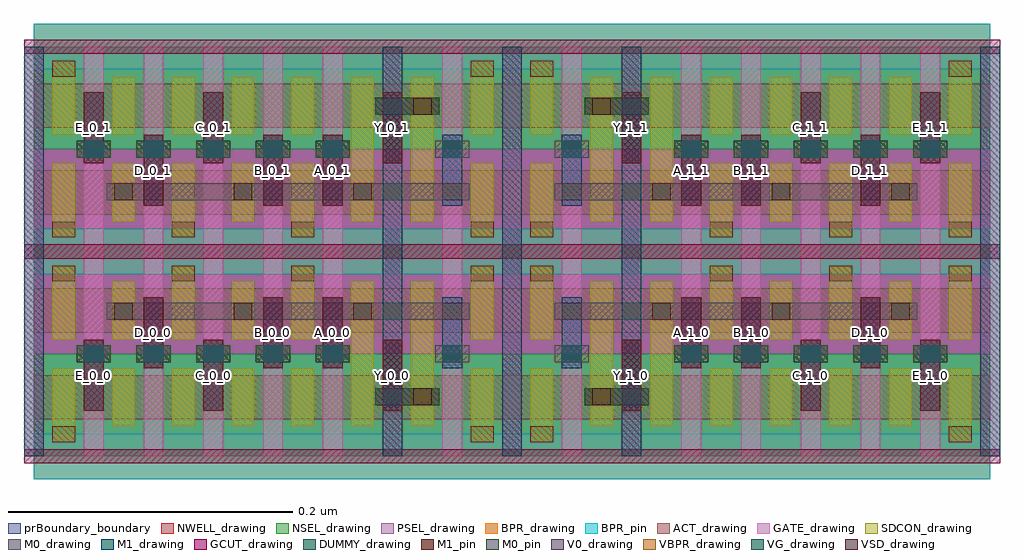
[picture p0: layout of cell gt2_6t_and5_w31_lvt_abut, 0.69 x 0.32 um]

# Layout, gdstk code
from math import pi, radians
import gdstk
lib = gdstk.Library(unit=1e-6, precision=5e-10)
def R(c, l, rs):  # rectangles x0, y0, x1, y1
    for r in rs: c.add(gdstk.rectangle(r[:2], r[2:], *l))
def A(c, l, x, y, w, h, nx, ny, dx, dy):  # array of equal rectangles
    R(c, l, [(x+i*dx, y+j*dy, x+i*dx+w, y+j*dy+h) for i in range(nx) for j in range(ny)])
NWELL_drawing = (1, 0)
ACT_drawing = (2, 0)
GATE_drawing = (3, 0)
DUMMY_drawing = (4, 0)
GCUT_drawing = (5, 0)
NSEL_drawing = (6, 0)
PSEL_drawing = (7, 0)
BPR_drawing = (8, 0)
BPR_pin = (8, 251)
VBPR_drawing = (9, 0)
SDCON_drawing = (10, 0)
VSD_drawing = (11, 0)
VG_drawing = (12, 0)
M0_drawing = (20, 0)
M0_pin = (20, 251)
V0_drawing = (22, 0)
M1_drawing = (25, 0)
M1_pin = (25, 251)
prBoundary_boundary = (235, 250)

gt2_6t_and5_w31_lvt = lib.new_cell('gt2_6t_and5_w31_lvt')
R(gt2_6t_and5_w31_lvt, NWELL_drawing, [(0,0.072,0.336,0.144)])
R(gt2_6t_and5_w31_lvt, ACT_drawing, [(0,0.026,0.336,0.057), (0,0.087,0.336,0.118)])
A(gt2_6t_and5_w31_lvt, GATE_drawing, -0.007, 0, 0.014, 0.144, 9, 1, 0.042, 0)
R(gt2_6t_and5_w31_lvt, DUMMY_drawing, [(-0.007,0,0.007,0.072), (0.245,0,0.259,0.072), (0.329,0,0.343,0.072), (-0.007,0.072,0.007,0.144), (0.245,0.072,0.259,0.144), (0.329,0.072,0.343,0.144)])
R(gt2_6t_and5_w31_lvt, GCUT_drawing, [(-0.007,-0.005,0.343,0.005), (-0.007,0.139,0.343,0.149)])
R(gt2_6t_and5_w31_lvt, NSEL_drawing, [(0,0,0.336,0.072)])
R(gt2_6t_and5_w31_lvt, PSEL_drawing, [(0,0.072,0.336,0.144)])
R(gt2_6t_and5_w31_lvt, BPR_drawing, [(0,-0.016,0.336,0.016), (0,0.128,0.336,0.16)])
R(gt2_6t_and5_w31_lvt, BPR_pin, [(0,-0.016,0.336,0.016), (0,0.128,0.336,0.16)])
A(gt2_6t_and5_w31_lvt, VBPR_drawing, 0.013, 0.123, 0.016, 0.011, 3, 1, 0.084, 0)
R(gt2_6t_and5_w31_lvt, VBPR_drawing, [(0.013,0.01,0.029,0.021), (0.307,0.01,0.323,0.021), (0.307,0.123,0.323,0.134)])
A(gt2_6t_and5_w31_lvt, SDCON_drawing, 0.055, 0.021, 0.016, 0.041, 4, 1, 0.042, 0)
A(gt2_6t_and5_w31_lvt, SDCON_drawing, 0.013, 0.082, 0.016, 0.052, 3, 1, 0.084, 0)
R(gt2_6t_and5_w31_lvt, SDCON_drawing, [(0.013,0.01,0.029,0.062), (0.307,0.01,0.323,0.062), (0.223,0.021,0.239,0.123), (0.265,0.021,0.281,0.123), (0.055,0.082,0.071,0.123), (0.139,0.082,0.155,0.123), (0.307,0.082,0.323,0.134)])
A(gt2_6t_and5_w31_lvt, VSD_drawing, 0.0565, 0.096, 0.013, 0.012, 3, 1, 0.084, 0)
R(gt2_6t_and5_w31_lvt, VSD_drawing, [(0.2665,0.036,0.2795,0.048)])
A(gt2_6t_and5_w31_lvt, VG_drawing, 0.035, 0.066, 0.014, 0.012, 5, 1, 0.042, 0)
R(gt2_6t_and5_w31_lvt, VG_drawing, [(0.287,0.066,0.301,0.078)])
A(gt2_6t_and5_w31_lvt, M0_drawing, 0.051, 0.096, 0.024, 0.012, 3, 1, 0.084, 0)
R(gt2_6t_and5_w31_lvt, M0_drawing, [(0.24,0.036,0.264,0.048), (0.24,0.036,0.285,0.048), (0.261,0.036,0.285,0.048), (0.03,0.066,0.054,0.078), (0.03,0.066,0.054,0.078), (0.072,0.066,0.096,0.078), (0.072,0.066,0.096,0.078), (0.114,0.066,0.138,0.078), (0.114,0.066,0.138,0.078), (0.156,0.066,0.18,0.078), (0.156,0.066,0.18,0.078), (0.198,0.066,0.222,0.078), (0.198,0.066,0.222,0.078), (0.282,0.066,0.306,0.078), (0.282,0.066,0.306,0.078), (0.051,0.096,0.306,0.108), (0.282,0.096,0.306,0.108)])
R(gt2_6t_and5_w31_lvt, M0_pin, [(0.24,0.036,0.264,0.048), (0.24,0.036,0.285,0.048), (0.261,0.036,0.285,0.048), (0.03,0.066,0.054,0.078), (0.03,0.066,0.054,0.078), (0.072,0.066,0.096,0.078), (0.072,0.066,0.096,0.078), (0.114,0.066,0.138,0.078), (0.114,0.066,0.138,0.078), (0.156,0.066,0.18,0.078), (0.156,0.066,0.18,0.078), (0.198,0.066,0.222,0.078), (0.198,0.066,0.222,0.078)])
A(gt2_6t_and5_w31_lvt, V0_drawing, 0.035, 0.066, 0.014, 0.012, 5, 1, 0.042, 0)
R(gt2_6t_and5_w31_lvt, V0_drawing, [(0.245,0.036,0.259,0.048), (0.287,0.066,0.301,0.078), (0.287,0.096,0.301,0.108)])
A(gt2_6t_and5_w31_lvt, M1_drawing, 0.035, 0.062, 0.014, 0.02, 5, 1, 0.042, 0)
R(gt2_6t_and5_w31_lvt, M1_drawing, [(0.035,0.032,0.049,0.082), (0.119,0.032,0.133,0.082), (0.245,0.032,0.259,0.052), (0.245,0.032,0.259,0.082), (0.077,0.062,0.091,0.112), (0.161,0.062,0.175,0.112), (0.203,0.062,0.217,0.112), (0.287,0.062,0.301,0.082), (0.287,0.062,0.301,0.112), (0.287,0.092,0.301,0.112)])
A(gt2_6t_and5_w31_lvt, M1_pin, 0.035, 0.062, 0.014, 0.02, 5, 1, 0.042, 0)
R(gt2_6t_and5_w31_lvt, M1_pin, [(0.035,0.032,0.049,0.082), (0.119,0.032,0.133,0.082), (0.245,0.032,0.259,0.052), (0.245,0.032,0.259,0.082), (0.077,0.062,0.091,0.112), (0.161,0.062,0.175,0.112), (0.203,0.062,0.217,0.112)])
R(gt2_6t_and5_w31_lvt, prBoundary_boundary, [(0,0,0.336,0.144)])
gt2_6t_and5_w31_lvt.add(gdstk.Label('vss', (0.168,0), layer=8, texttype=251))
gt2_6t_and5_w31_lvt.add(gdstk.Label('vdd', (0.168,0.144), layer=8, texttype=251))
gt2_6t_and5_w31_lvt.add(gdstk.Label('Y', (0.273,0.042), layer=20, texttype=251))
gt2_6t_and5_w31_lvt.add(gdstk.Label('E', (0.042,0.072), layer=20, texttype=251))
gt2_6t_and5_w31_lvt.add(gdstk.Label('D', (0.084,0.072), layer=20, texttype=251))
gt2_6t_and5_w31_lvt.add(gdstk.Label('C', (0.126,0.072), layer=20, texttype=251))
gt2_6t_and5_w31_lvt.add(gdstk.Label('B', (0.168,0.072), layer=20, texttype=251))
gt2_6t_and5_w31_lvt.add(gdstk.Label('A', (0.21,0.072), layer=20, texttype=251))
gt2_6t_and5_w31_lvt.add(gdstk.Label('Y', (0.2625,0.042), layer=20, texttype=251))
gt2_6t_and5_w31_lvt.add(gdstk.Label('Y', (0.252,0.042), layer=20, texttype=251))
gt2_6t_and5_w31_lvt.add(gdstk.Label('E', (0.042,0.072), layer=20, texttype=251))
gt2_6t_and5_w31_lvt.add(gdstk.Label('D', (0.084,0.072), layer=20, texttype=251))
gt2_6t_and5_w31_lvt.add(gdstk.Label('C', (0.126,0.072), layer=20, texttype=251))
gt2_6t_and5_w31_lvt.add(gdstk.Label('B', (0.168,0.072), layer=20, texttype=251))
gt2_6t_and5_w31_lvt.add(gdstk.Label('A', (0.21,0.072), layer=20, texttype=251))
gt2_6t_and5_w31_lvt.add(gdstk.Label('Y', (0.252,0.042), layer=25, texttype=251))
gt2_6t_and5_w31_lvt.add(gdstk.Label('E', (0.042,0.072), layer=25, texttype=251))
gt2_6t_and5_w31_lvt.add(gdstk.Label('D', (0.084,0.072), layer=25, texttype=251))
gt2_6t_and5_w31_lvt.add(gdstk.Label('C', (0.126,0.072), layer=25, texttype=251))
gt2_6t_and5_w31_lvt.add(gdstk.Label('B', (0.168,0.072), layer=25, texttype=251))
gt2_6t_and5_w31_lvt.add(gdstk.Label('A', (0.21,0.072), layer=25, texttype=251))
gt2_6t_and5_w31_lvt.add(gdstk.Label('E', (0.042,0.057), layer=25, texttype=251))
gt2_6t_and5_w31_lvt.add(gdstk.Label('C', (0.126,0.057), layer=25, texttype=251))
gt2_6t_and5_w31_lvt.add(gdstk.Label('Y', (0.252,0.057), layer=25, texttype=251))
gt2_6t_and5_w31_lvt.add(gdstk.Label('D', (0.084,0.087), layer=25, texttype=251))
gt2_6t_and5_w31_lvt.add(gdstk.Label('B', (0.168,0.087), layer=25, texttype=251))
gt2_6t_and5_w31_lvt.add(gdstk.Label('A', (0.21,0.087), layer=25, texttype=251))

gt2_6t_and5_w31_lvt_abut = lib.new_cell('gt2_6t_and5_w31_lvt_abut')
gt2_6t_and5_w31_lvt_abut.add(gdstk.Reference(gt2_6t_and5_w31_lvt, (0,0)))
gt2_6t_and5_w31_lvt_abut.add(gdstk.Reference(gt2_6t_and5_w31_lvt, (0.672,0), rotation=pi, x_reflection=True))
gt2_6t_and5_w31_lvt_abut.add(gdstk.Reference(gt2_6t_and5_w31_lvt, (0,0.288), x_reflection=True))
gt2_6t_and5_w31_lvt_abut.add(gdstk.Reference(gt2_6t_and5_w31_lvt, (0.672,0.288), rotation=pi))
gt2_6t_and5_w31_lvt_abut.add(gdstk.Label('A_0_0', (0.21,0.087), layer=25, texttype=251))
gt2_6t_and5_w31_lvt_abut.add(gdstk.Label('B_0_0', (0.168,0.087), layer=25, texttype=251))
gt2_6t_and5_w31_lvt_abut.add(gdstk.Label('C_0_0', (0.126,0.057), layer=25, texttype=251))
gt2_6t_and5_w31_lvt_abut.add(gdstk.Label('D_0_0', (0.084,0.087), layer=25, texttype=251))
gt2_6t_and5_w31_lvt_abut.add(gdstk.Label('E_0_0', (0.042,0.057), layer=25, texttype=251))
gt2_6t_and5_w31_lvt_abut.add(gdstk.Label('Y_0_0', (0.252,0.057), layer=25, texttype=251))
gt2_6t_and5_w31_lvt_abut.add(gdstk.Label('A_1_0', (0.462,0.087), layer=25, texttype=251))
gt2_6t_and5_w31_lvt_abut.add(gdstk.Label('B_1_0', (0.504,0.087), layer=25, texttype=251))
gt2_6t_and5_w31_lvt_abut.add(gdstk.Label('C_1_0', (0.546,0.057), layer=25, texttype=251))
gt2_6t_and5_w31_lvt_abut.add(gdstk.Label('D_1_0', (0.588,0.087), layer=25, texttype=251))
gt2_6t_and5_w31_lvt_abut.add(gdstk.Label('E_1_0', (0.63,0.057), layer=25, texttype=251))
gt2_6t_and5_w31_lvt_abut.add(gdstk.Label('Y_1_0', (0.42,0.057), layer=25, texttype=251))
gt2_6t_and5_w31_lvt_abut.add(gdstk.Label('A_0_1', (0.21,0.201), layer=25, texttype=251))
gt2_6t_and5_w31_lvt_abut.add(gdstk.Label('B_0_1', (0.168,0.201), layer=25, texttype=251))
gt2_6t_and5_w31_lvt_abut.add(gdstk.Label('C_0_1', (0.126,0.231), layer=25, texttype=251))
gt2_6t_and5_w31_lvt_abut.add(gdstk.Label('D_0_1', (0.084,0.201), layer=25, texttype=251))
gt2_6t_and5_w31_lvt_abut.add(gdstk.Label('E_0_1', (0.042,0.231), layer=25, texttype=251))
gt2_6t_and5_w31_lvt_abut.add(gdstk.Label('Y_0_1', (0.252,0.231), layer=25, texttype=251))
gt2_6t_and5_w31_lvt_abut.add(gdstk.Label('A_1_1', (0.462,0.201), layer=25, texttype=251))
gt2_6t_and5_w31_lvt_abut.add(gdstk.Label('B_1_1', (0.504,0.201), layer=25, texttype=251))
gt2_6t_and5_w31_lvt_abut.add(gdstk.Label('C_1_1', (0.546,0.231), layer=25, texttype=251))
gt2_6t_and5_w31_lvt_abut.add(gdstk.Label('D_1_1', (0.588,0.201), layer=25, texttype=251))
gt2_6t_and5_w31_lvt_abut.add(gdstk.Label('E_1_1', (0.63,0.231), layer=25, texttype=251))
gt2_6t_and5_w31_lvt_abut.add(gdstk.Label('Y_1_1', (0.42,0.231), layer=25, texttype=251))

lib.write_gds('gt2_6t_and5_w31_lvt_abut.gds')
